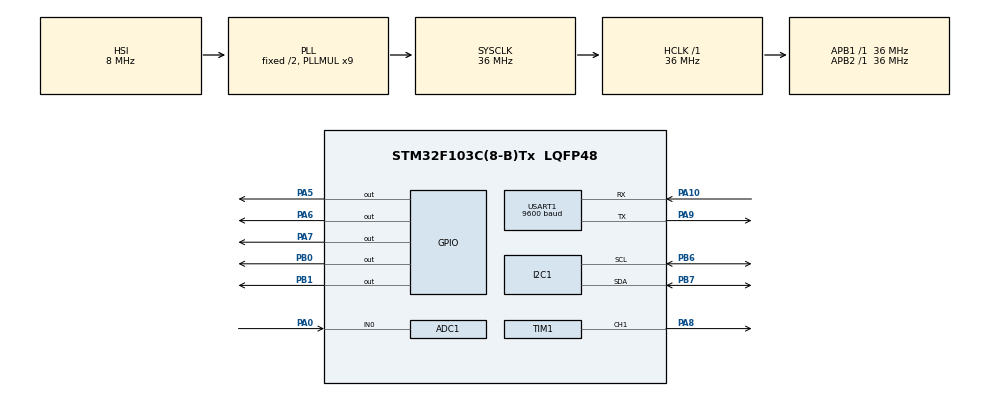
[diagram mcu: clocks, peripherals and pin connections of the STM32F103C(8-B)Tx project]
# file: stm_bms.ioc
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ADC1.Channel-3\#ChannelRegularConversion=ADC_CHANNEL_0
ADC1.NbrOfConversionFlag=1
ADC1.Rank-3\#ChannelRegularConversion=1
ADC1.SamplingTime-3\#ChannelRegularConversion=ADC_SAMPLETIME_1CYCLE_5
ADC1.master=1
Mcu.Family=STM32F1
Mcu.Name=STM32F103C(8-B)Tx
Mcu.Package=LQFP48
NVIC.PriorityGroup=NVIC_PRIORITYGROUP_4
NVIC.USART1_IRQn=true\:0\:0\:false\:false\:true\:true\:true\:true
PA0-WKUP.Signal=ADCx_IN0
PA10.Mode=Asynchronous
PA10.Signal=USART1_RX
PA13.Mode=Serial_Wire
PA13.Signal=SYS_JTMS-SWDIO
PA14.Mode=Serial_Wire
PA14.Signal=SYS_JTCK-SWCLK
PA5.Signal=GPIO_Output
PA6.Signal=GPIO_Output
PA7.Signal=GPIO_Output
PA8.Signal=S_TIM1_CH1
PA9.Mode=Asynchronous
PA9.Signal=USART1_TX
PB0.Signal=GPIO_Output
PB1.Signal=GPIO_Output
PB6.Mode=I2C
PB6.Signal=I2C1_SCL
PB7.Mode=I2C
PB7.Signal=I2C1_SDA
ProjectManager.HeapSize=0x200
ProjectManager.StackSize=0x400
ProjectManager.TargetToolchain=STM32CubeIDE
RCC.ADCPresc=RCC_ADCPCLK2_DIV4
RCC.AHBFreq_Value=36000000
RCC.APB1Freq_Value=36000000
RCC.APB1TimFreq_Value=36000000
RCC.APB2Freq_Value=36000000
RCC.APB2TimFreq_Value=36000000
RCC.HCLKFreq_Value=36000000
RCC.PLLMUL=RCC_PLL_MUL9
RCC.SYSCLKFreq_VALUE=36000000
RCC.SYSCLKSource=RCC_SYSCLKSOURCE_PLLCLK
RCC.USBFreq_Value=36000000
SH.ADCx_IN0.0=ADC1_IN0,IN0
SH.S_TIM1_CH1.0=TIM1_CH1,PWM Generation1 CH1
TIM1.Channel-PWM\ Generation1\ CH1=TIM_CHANNEL_1
TIM1.Period=500
TIM1.Prescaler=10
USART1.BaudRate=9600
USART1.VirtualMode=VM_ASYNC
VP_TIM1_VS_ClockSourceINT.Mode=Internal
board=custom

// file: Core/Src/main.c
/* USER CODE BEGIN Header */
/**
  ******************************************************************************
  * @file           : main.c
  * @brief          : Main program body
  ******************************************************************************
  * @attention
  *
  * Copyright (c) 2026 STMicroelectronics.
  * All rights reserved.
  *
  * This software is licensed under terms that can be found in the LICENSE file
  * in the root directory of this software component.
  * If no LICENSE file comes with this software, it is provided AS-IS.
  *
  ******************************************************************************
  */
/* USER CODE END Header */
#include "main.h"

/* USER CODE BEGIN Includes */
#include <stdio.h>
#include <string.h>
#include "i2c_lcd.h"
/* USER CODE END Includes */

/* USER CODE BEGIN PM */
#define V_CELL_MAX      4.20f
#define V_CELL_BAL      4.00f
#define V_CELL_NOM      3.70f
#define V_CELL_MIN      3.00f
#define V_CELL_CRIT     2.80f

// Seuils pack
#define V_PACK_MAX      12.60f
#define V_PACK_MIN       9.00f
#define V_PACK_CRIT      8.40f

/* USER CODE END PM */

ADC_HandleTypeDef hadc1;

I2C_HandleTypeDef hi2c1;

TIM_HandleTypeDef htim1;

UART_HandleTypeDef huart1;

/* USER CODE BEGIN PV */
const float R = 10;
const float R11 = 5.1;
const float R21 = 22;
const float R31 = 33;
int charging=0;

char msg[50], donnee_txt[50], lcd_txt[50];
float bat_Voltage[3] = {0}, total_Voltage = 0.0;
float current = 0.0;
float coeff_Res[3] = {R/(R + R11), R/(R + R21), R/(R + R31)};

volatile int speed = 0;

uint8_t rx_data[5];
uint8_t tx_data[5];
/* USER CODE END PV */

void SystemClock_Config(void);
static void MX_GPIO_Init(void);
static void MX_ADC1_Init(void);
static void MX_USART1_UART_Init(void);
static void MX_I2C1_Init(void);
static void MX_TIM1_Init(void);
/* USER CODE BEGIN PFP */
float Read_ADC(uint32_t channel);
void CMD_Vitesse(void);
void balance_Cell(void);
void charging_Batt(void);
/* USER CODE END PFP */

/* USER CODE BEGIN 0 */
void HAL_UART_RxCpltCallback(UART_HandleTypeDef *huart) {
  if (huart->Instance == USART1) {
    speed = (int) rx_data[0];
    CMD_Vitesse();
    HAL_UART_Receive_IT(&huart1, rx_data, 1);
  }
}
/* USER CODE END 0 */

int main(void)
{

  /* MCU Configuration--------------------------------------------------------*/

  /* Reset of all peripherals, Initializes the Flash interface and the Systick. */
  HAL_Init();

  /* Configure the system clock */
  SystemClock_Config();

  /* Initialize all configured peripherals */
  MX_GPIO_Init();
  MX_ADC1_Init();
  MX_USART1_UART_Init();
  MX_I2C1_Init();
  MX_TIM1_Init();
  /* USER CODE BEGIN 2 */
  lcd_init();
  lcd_setCursor(0, 3);
  lcd_print("---BMS---");

  sprintf(msg, "---Initialisation---\r\n");
  HAL_UART_Transmit(&huart1, (uint8_t*)msg, strlen(msg), HAL_MAX_DELAY);
  HAL_UART_Receive_IT(&huart1, rx_data, 1);

  TIM1->CCR1 = 10000;
  CMD_Vitesse();

  HAL_Delay(500);
  /* USER CODE END 2 */

  /* Infinite loop */
  /* USER CODE BEGIN WHILE */
  while (1)
  {
	  bat_Voltage[0] = Read_ADC(ADC_CHANNEL_0)/coeff_Res[0];  // bat 1
	  bat_Voltage[1] = Read_ADC(ADC_CHANNEL_1)/coeff_Res[1] - bat_Voltage[0];  // bat 2
	  bat_Voltage[2] = Read_ADC(ADC_CHANNEL_2)/coeff_Res[2] - (bat_Voltage[0] + bat_Voltage[1]);  // bat 3

	  total_Voltage = bat_Voltage[0] + bat_Voltage[1] + bat_Voltage[2];

	  current = -((Read_ADC(ADC_CHANNEL_3) - 2.5)/0.066);

	  balance_Cell();

	  charging_Batt();

	  lcd_clear();
	  sprintf(lcd_txt, "B1=%.1fV B2=%.1fV", bat_Voltage[0], bat_Voltage[1]);
	  lcd_setCursor(0,0);
	  lcd_print(lcd_txt);

	  sprintf(lcd_txt, "B3=%.1fV", bat_Voltage[2]);
	  lcd_setCursor(1,0);
	  lcd_print(lcd_txt);
	  HAL_Delay(2000);

	  lcd_clear();
	  sprintf(lcd_txt, "B=%.1fV I=%.1fA", total_Voltage, current);
	  lcd_setCursor(0,0);
	  lcd_print(lcd_txt);
	  sprintf(lcd_txt, "speed=%d", speed);
	  lcd_setCursor(1,0);
	  lcd_print(lcd_txt);

	  sprintf(donnee_txt, "%.1f, %.1f, %.1f, %.1f, %.1f\r\n", bat_Voltage[0], bat_Voltage[1], bat_Voltage[2], total_Voltage, current);
	  HAL_UART_Transmit(&huart1, (uint8_t*)donnee_txt, strlen(donnee_txt), HAL_MAX_DELAY);

	  HAL_Delay(3000);

    /* USER CODE END WHILE */

  }
}

void SystemClock_Config(void)
{
  RCC_OscInitTypeDef RCC_OscInitStruct = {0};
  RCC_ClkInitTypeDef RCC_ClkInitStruct = {0};
  RCC_PeriphCLKInitTypeDef PeriphClkInit = {0};

  /** Initializes the RCC Oscillators according to the specified parameters
  * in the RCC_OscInitTypeDef structure.
  */
  RCC_OscInitStruct.OscillatorType = RCC_OSCILLATORTYPE_HSI;
  RCC_OscInitStruct.HSIState = RCC_HSI_ON;
  RCC_OscInitStruct.HSICalibrationValue = RCC_HSICALIBRATION_DEFAULT;
  RCC_OscInitStruct.PLL.PLLState = RCC_PLL_ON;
  RCC_OscInitStruct.PLL.PLLSource = RCC_PLLSOURCE_HSI_DIV2;
  RCC_OscInitStruct.PLL.PLLMUL = RCC_PLL_MUL9;
  if (HAL_RCC_OscConfig(&RCC_OscInitStruct) != HAL_OK)
  {
    Error_Handler();
  }

  /** Initializes the CPU, AHB and APB buses clocks
  */
  RCC_ClkInitStruct.ClockType = RCC_CLOCKTYPE_HCLK|RCC_CLOCKTYPE_SYSCLK
                              |RCC_CLOCKTYPE_PCLK1|RCC_CLOCKTYPE_PCLK2;
  RCC_ClkInitStruct.SYSCLKSource = RCC_SYSCLKSOURCE_PLLCLK;
  RCC_ClkInitStruct.AHBCLKDivider = RCC_SYSCLK_DIV1;
  RCC_ClkInitStruct.APB1CLKDivider = RCC_HCLK_DIV1;
  RCC_ClkInitStruct.APB2CLKDivider = RCC_HCLK_DIV1;

  if (HAL_RCC_ClockConfig(&RCC_ClkInitStruct, FLASH_LATENCY_1) != HAL_OK)
  {
    Error_Handler();
  }
  PeriphClkInit.PeriphClockSelection = RCC_PERIPHCLK_ADC;
  PeriphClkInit.AdcClockSelection = RCC_ADCPCLK2_DIV4;
  if (HAL_RCCEx_PeriphCLKConfig(&PeriphClkInit) != HAL_OK)
  {
    Error_Handler();
  }
}

static void MX_ADC1_Init(void)
{

  ADC_ChannelConfTypeDef sConfig = {0};

  /** Common config
  */
  hadc1.Instance = ADC1;
  hadc1.Init.ScanConvMode = ADC_SCAN_DISABLE;
  hadc1.Init.ContinuousConvMode = DISABLE;
  hadc1.Init.DiscontinuousConvMode = DISABLE;
  hadc1.Init.ExternalTrigConv = ADC_SOFTWARE_START;
  hadc1.Init.DataAlign = ADC_DATAALIGN_RIGHT;
  hadc1.Init.NbrOfConversion = 1;
  if (HAL_ADC_Init(&hadc1) != HAL_OK)
  {
    Error_Handler();
  }

  /** Configure Regular Channel
  */
  sConfig.Channel = ADC_CHANNEL_0;
  sConfig.Rank = ADC_REGULAR_RANK_1;
  sConfig.SamplingTime = ADC_SAMPLETIME_1CYCLE_5;
  if (HAL_ADC_ConfigChannel(&hadc1, &sConfig) != HAL_OK)
  {
    Error_Handler();
  }

}

static void MX_I2C1_Init(void)
{

  hi2c1.Instance = I2C1;
  hi2c1.Init.ClockSpeed = 100000;
  hi2c1.Init.DutyCycle = I2C_DUTYCYCLE_2;
  hi2c1.Init.OwnAddress1 = 0;
  hi2c1.Init.AddressingMode = I2C_ADDRESSINGMODE_7BIT;
  hi2c1.Init.DualAddressMode = I2C_DUALADDRESS_DISABLE;
  hi2c1.Init.OwnAddress2 = 0;
  hi2c1.Init.GeneralCallMode = I2C_GENERALCALL_DISABLE;
  hi2c1.Init.NoStretchMode = I2C_NOSTRETCH_DISABLE;
  if (HAL_I2C_Init(&hi2c1) != HAL_OK)
  {
    Error_Handler();
  }

}

static void MX_TIM1_Init(void)
{

  TIM_ClockConfigTypeDef sClockSourceConfig = {0};
  TIM_MasterConfigTypeDef sMasterConfig = {0};
  TIM_OC_InitTypeDef sConfigOC = {0};
  TIM_BreakDeadTimeConfigTypeDef sBreakDeadTimeConfig = {0};

  htim1.Instance = TIM1;
  htim1.Init.Prescaler = 10;
  htim1.Init.CounterMode = TIM_COUNTERMODE_UP;
  htim1.Init.Period = 500;
  htim1.Init.ClockDivision = TIM_CLOCKDIVISION_DIV1;
  htim1.Init.RepetitionCounter = 0;
  htim1.Init.AutoReloadPreload = TIM_AUTORELOAD_PRELOAD_DISABLE;
  if (HAL_TIM_Base_Init(&htim1) != HAL_OK)
  {
    Error_Handler();
  }
  sClockSourceConfig.ClockSource = TIM_CLOCKSOURCE_INTERNAL;
  if (HAL_TIM_ConfigClockSource(&htim1, &sClockSourceConfig) != HAL_OK)
  {
    Error_Handler();
  }
  if (HAL_TIM_PWM_Init(&htim1) != HAL_OK)
  {
    Error_Handler();
  }
  sMasterConfig.MasterOutputTrigger = TIM_TRGO_RESET;
  sMasterConfig.MasterSlaveMode = TIM_MASTERSLAVEMODE_DISABLE;
  if (HAL_TIMEx_MasterConfigSynchronization(&htim1, &sMasterConfig) != HAL_OK)
  {
    Error_Handler();
  }
  sConfigOC.OCMode = TIM_OCMODE_PWM1;
  sConfigOC.Pulse = 0;
  sConfigOC.OCPolarity = TIM_OCPOLARITY_HIGH;
  sConfigOC.OCNPolarity = TIM_OCNPOLARITY_HIGH;
  sConfigOC.OCFastMode = TIM_OCFAST_DISABLE;
  sConfigOC.OCIdleState = TIM_OCIDLESTATE_RESET;
  sConfigOC.OCNIdleState = TIM_OCNIDLESTATE_RESET;
  if (HAL_TIM_PWM_ConfigChannel(&htim1, &sConfigOC, TIM_CHANNEL_1) != HAL_OK)
  {
    Error_Handler();
  }
  sBreakDeadTimeConfig.OffStateRunMode = TIM_OSSR_DISABLE;
  sBreakDeadTimeConfig.OffStateIDLEMode = TIM_OSSI_DISABLE;
  sBreakDeadTimeConfig.LockLevel = TIM_LOCKLEVEL_OFF;
  sBreakDeadTimeConfig.DeadTime = 0;
  sBreakDeadTimeConfig.BreakState = TIM_BREAK_DISABLE;
  sBreakDeadTimeConfig.BreakPolarity = TIM_BREAKPOLARITY_HIGH;
  sBreakDeadTimeConfig.AutomaticOutput = TIM_AUTOMATICOUTPUT_DISABLE;
  if (HAL_TIMEx_ConfigBreakDeadTime(&htim1, &sBreakDeadTimeConfig) != HAL_OK)
  {
    Error_Handler();
  }
  HAL_TIM_MspPostInit(&htim1);

}

static void MX_USART1_UART_Init(void)
{

  huart1.Instance = USART1;
  huart1.Init.BaudRate = 9600;
  huart1.Init.WordLength = UART_WORDLENGTH_8B;
  huart1.Init.StopBits = UART_STOPBITS_1;
  huart1.Init.Parity = UART_PARITY_NONE;
  huart1.Init.Mode = UART_MODE_TX_RX;
  huart1.Init.HwFlowCtl = UART_HWCONTROL_NONE;
  huart1.Init.OverSampling = UART_OVERSAMPLING_16;
  if (HAL_UART_Init(&huart1) != HAL_OK)
  {
    Error_Handler();
  }

}

static void MX_GPIO_Init(void)
{
  GPIO_InitTypeDef GPIO_InitStruct = {0};

  /* GPIO Ports Clock Enable */
  __HAL_RCC_GPIOA_CLK_ENABLE();
  __HAL_RCC_GPIOB_CLK_ENABLE();

  /*Configure GPIO pin Output Level */
  HAL_GPIO_WritePin(GPIOA, GPIO_PIN_5|GPIO_PIN_6|GPIO_PIN_7, GPIO_PIN_RESET);

  /*Configure GPIO pin Output Level */
  HAL_GPIO_WritePin(GPIOB, GPIO_PIN_0|GPIO_PIN_1, GPIO_PIN_RESET);

  /*Configure GPIO pins : PA5 PA6 PA7 */
  GPIO_InitStruct.Pin = GPIO_PIN_5|GPIO_PIN_6|GPIO_PIN_7;
  GPIO_InitStruct.Mode = GPIO_MODE_OUTPUT_PP;
  GPIO_InitStruct.Pull = GPIO_NOPULL;
  GPIO_InitStruct.Speed = GPIO_SPEED_FREQ_LOW;
  HAL_GPIO_Init(GPIOA, &GPIO_InitStruct);

  /*Configure GPIO pins : PB0 PB1 */
  GPIO_InitStruct.Pin = GPIO_PIN_0|GPIO_PIN_1;
  GPIO_InitStruct.Mode = GPIO_MODE_OUTPUT_PP;
  GPIO_InitStruct.Pull = GPIO_NOPULL;
  GPIO_InitStruct.Speed = GPIO_SPEED_FREQ_LOW;
  HAL_GPIO_Init(GPIOB, &GPIO_InitStruct);

}

/* USER CODE BEGIN 4 */
float Read_ADC(uint32_t channel)
{
    ADC_ChannelConfTypeDef sConfig = {0};
    sConfig.Channel      = channel;
    sConfig.Rank         = ADC_REGULAR_RANK_1;
    sConfig.SamplingTime = ADC_SAMPLETIME_55CYCLES_5;

    if (HAL_ADC_ConfigChannel(&hadc1, &sConfig) != HAL_OK)
    {
        Error_Handler();
    }
    HAL_ADC_Start(&hadc1);
    HAL_ADC_PollForConversion(&hadc1, HAL_MAX_DELAY);
    uint32_t adc_val = HAL_ADC_GetValue(&hadc1);

    float voltage = (adc_val * 3.30) / 4096.0;

    HAL_ADC_Stop(&hadc1);

    return voltage;
}

void CMD_Vitesse(){
	uint32_t ccr_value;

	if(total_Voltage >= V_PACK_MIN)
	{
		if (speed > 50) speed = 50;
		if (speed < 0)   speed = 0;

		if (speed < 5) ccr_value = 0;

		else if (speed <= 10) ccr_value = 80;
		else ccr_value = 50 * ((speed + 4) / 5);

		TIM1->CCR1 = 250;
		HAL_TIM_PWM_Start(&htim1, TIM_CHANNEL_1);
		//HAL_Delay(50);
	}
	else{
		ccr_value = 0;
	}

	TIM1->CCR1 = ccr_value;
	HAL_TIM_PWM_Start(&htim1, TIM_CHANNEL_1);

}

void balance_Cell()
{
	if(charging == 1)
	{
	  if(bat_Voltage[0] > V_CELL_BAL)
	  {
		  HAL_GPIO_WritePin(GPIOA, GPIO_PIN_5, GPIO_PIN_SET);
	  }
	  else{
		  HAL_GPIO_WritePin(GPIOA, GPIO_PIN_5, GPIO_PIN_RESET);
	  }
	  if(bat_Voltage[1] > V_CELL_BAL)
	  {
		  HAL_GPIO_WritePin(GPIOA, GPIO_PIN_6, GPIO_PIN_SET);
	  }
	  else{
	  		  HAL_GPIO_WritePin(GPIOA, GPIO_PIN_6, GPIO_PIN_RESET);
	  	  }
	  if(bat_Voltage[2] > V_CELL_BAL)
	  {
		  HAL_GPIO_WritePin(GPIOA, GPIO_PIN_7, GPIO_PIN_SET);
	  }
	  else{
	  		  HAL_GPIO_WritePin(GPIOA, GPIO_PIN_7, GPIO_PIN_RESET);
	  	  }
	}
	else {
		HAL_GPIO_WritePin(GPIOA, GPIO_PIN_7, GPIO_PIN_RESET);
		HAL_GPIO_WritePin(GPIOA, GPIO_PIN_6, GPIO_PIN_RESET);
		HAL_GPIO_WritePin(GPIOA, GPIO_PIN_5, GPIO_PIN_RESET);
	}
}

void charging_Batt()
{
	  if(total_Voltage < V_PACK_MIN || bat_Voltage[0] < V_CELL_MIN || bat_Voltage[1] < V_CELL_MIN || bat_Voltage[2] < V_CELL_MIN)
	  {
		  charging = 1;
		  HAL_GPIO_WritePin(GPIOB, GPIO_PIN_0, GPIO_PIN_SET);
		  HAL_GPIO_WritePin(GPIOB, GPIO_PIN_1, GPIO_PIN_SET);
	  }
	  else{
		  charging = 0;
		  HAL_GPIO_WritePin(GPIOB, GPIO_PIN_0, GPIO_PIN_RESET);
		  HAL_GPIO_WritePin(GPIOB, GPIO_PIN_1, GPIO_PIN_RESET);
	  }
}
/* USER CODE END 4 */

void Error_Handler(void)
{
  __disable_irq();
  while (1)
  {
  }
}
